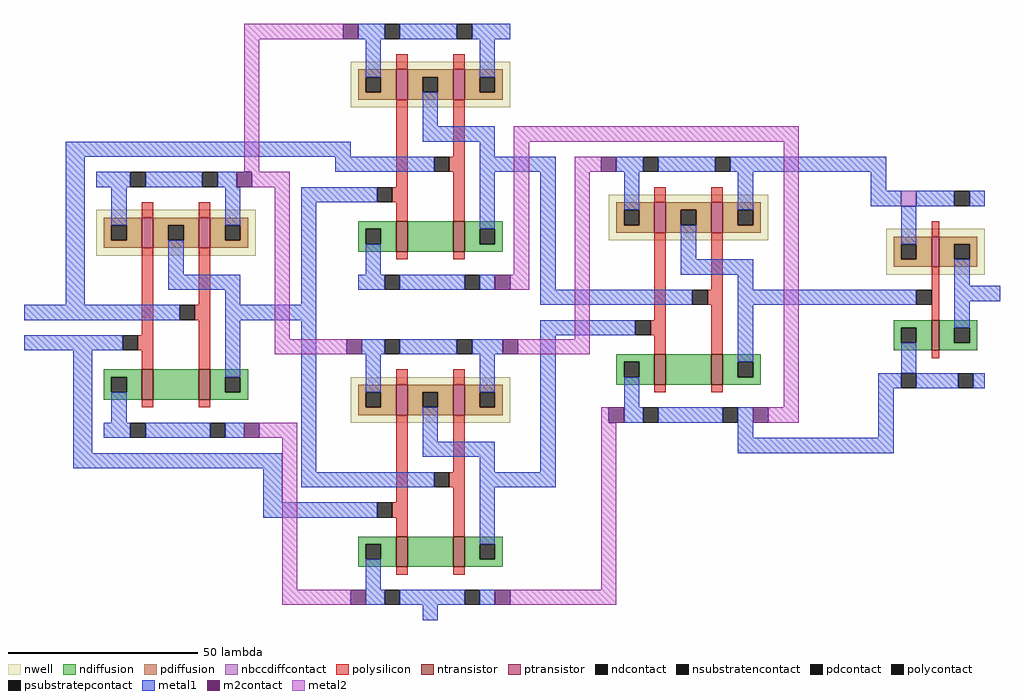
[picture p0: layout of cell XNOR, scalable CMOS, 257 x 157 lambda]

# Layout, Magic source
magic
tech scmos
<< nwell >>
rect -48 55 -6 67
rect -115 16 -73 28
rect 20 20 62 32
rect 93 11 119 23
rect -48 -28 -6 -16
<< polysilicon >>
rect -36 65 -33 69
rect -21 65 -18 69
rect -36 34 -33 57
rect -21 42 -18 57
rect -22 38 -18 42
rect -37 30 -33 34
rect -103 26 -100 30
rect -88 26 -85 30
rect -36 25 -33 30
rect -21 25 -18 38
rect 32 30 35 34
rect 47 30 50 34
rect -103 -5 -100 18
rect -88 3 -85 18
rect -36 15 -33 17
rect -21 15 -18 17
rect -89 -1 -85 3
rect 32 -1 35 22
rect 47 7 50 22
rect 105 21 107 25
rect 46 3 50 7
rect -104 -9 -100 -5
rect -103 -14 -100 -9
rect -88 -14 -85 -1
rect 31 -5 35 -1
rect 32 -10 35 -5
rect 47 -10 50 3
rect 105 -1 107 13
rect -36 -18 -33 -14
rect -21 -18 -18 -14
rect 105 -11 107 -9
rect -103 -24 -100 -22
rect -88 -24 -85 -22
rect 32 -20 35 -18
rect 47 -20 50 -18
rect -36 -49 -33 -26
rect -21 -41 -18 -26
rect -22 -45 -18 -41
rect -37 -53 -33 -49
rect -36 -58 -33 -53
rect -21 -58 -18 -45
rect -36 -68 -33 -66
rect -21 -68 -18 -66
<< ndiffusion >>
rect -46 23 -36 25
rect -46 19 -44 23
rect -40 19 -36 23
rect -46 17 -36 19
rect -33 17 -21 25
rect -18 23 -8 25
rect -18 19 -14 23
rect -10 19 -8 23
rect -18 17 -8 19
rect 95 -3 105 -1
rect 95 -7 97 -3
rect 101 -7 105 -3
rect 95 -9 105 -7
rect 107 -3 117 -1
rect 107 -7 111 -3
rect 115 -7 117 -3
rect 107 -9 117 -7
rect 22 -12 32 -10
rect -113 -16 -103 -14
rect -113 -20 -111 -16
rect -107 -20 -103 -16
rect -113 -22 -103 -20
rect -100 -22 -88 -14
rect -85 -16 -75 -14
rect -85 -20 -81 -16
rect -77 -20 -75 -16
rect 22 -16 24 -12
rect 28 -16 32 -12
rect 22 -18 32 -16
rect 35 -18 47 -10
rect 50 -12 60 -10
rect 50 -16 54 -12
rect 58 -16 60 -12
rect 50 -18 60 -16
rect -85 -22 -75 -20
rect -46 -60 -36 -58
rect -46 -64 -44 -60
rect -40 -64 -36 -60
rect -46 -66 -36 -64
rect -33 -66 -21 -58
rect -18 -60 -8 -58
rect -18 -64 -14 -60
rect -10 -64 -8 -60
rect -18 -66 -8 -64
<< pdiffusion >>
rect -46 63 -36 65
rect -46 59 -44 63
rect -40 59 -36 63
rect -46 57 -36 59
rect -33 63 -21 65
rect -33 59 -29 63
rect -25 59 -21 63
rect -33 57 -21 59
rect -18 63 -8 65
rect -18 59 -14 63
rect -10 59 -8 63
rect -18 57 -8 59
rect -113 24 -103 26
rect -113 20 -111 24
rect -107 20 -103 24
rect -113 18 -103 20
rect -100 24 -88 26
rect -100 20 -96 24
rect -92 20 -88 24
rect -100 18 -88 20
rect -85 24 -75 26
rect 22 28 32 30
rect -85 20 -81 24
rect -77 20 -75 24
rect -85 18 -75 20
rect 22 24 24 28
rect 28 24 32 28
rect 22 22 32 24
rect 35 28 47 30
rect 35 24 39 28
rect 43 24 47 28
rect 35 22 47 24
rect 50 28 60 30
rect 50 24 54 28
rect 58 24 60 28
rect 50 22 60 24
rect 95 19 105 21
rect 95 15 97 19
rect 101 15 105 19
rect 95 13 105 15
rect 107 19 117 21
rect 107 15 111 19
rect 115 15 117 19
rect 107 13 117 15
rect -46 -20 -36 -18
rect -46 -24 -44 -20
rect -40 -24 -36 -20
rect -46 -26 -36 -24
rect -33 -20 -21 -18
rect -33 -24 -29 -20
rect -25 -24 -21 -20
rect -33 -26 -21 -24
rect -18 -20 -8 -18
rect -18 -24 -14 -20
rect -10 -24 -8 -20
rect -18 -26 -8 -24
<< metal1 >>
rect -46 73 -39 77
rect -35 73 -20 77
rect -16 73 -6 77
rect -44 63 -40 73
rect -14 63 -10 73
rect -29 50 -25 59
rect -29 46 -10 50
rect -123 42 -48 46
rect -14 42 -10 46
rect -123 3 -118 42
rect -52 38 -26 42
rect -14 38 6 42
rect 22 38 29 42
rect 33 38 48 42
rect 52 38 93 42
rect -115 34 -106 38
rect -102 34 -87 38
rect -83 34 -78 38
rect -111 24 -107 34
rect -81 24 -77 34
rect -61 30 -41 34
rect -96 11 -92 20
rect -96 7 -77 11
rect -81 3 -77 7
rect -61 3 -57 30
rect -14 23 -10 38
rect -44 11 -40 19
rect -46 7 -39 11
rect -35 7 -18 11
rect -14 7 -10 11
rect 2 7 6 38
rect 24 28 28 38
rect 54 28 58 38
rect 89 33 93 38
rect 89 29 97 33
rect 101 29 111 33
rect 115 29 119 33
rect 39 15 43 24
rect 97 19 101 29
rect 39 11 58 15
rect 54 7 58 11
rect 111 8 115 15
rect 2 3 42 7
rect 54 3 101 7
rect 111 4 123 8
rect -134 -1 -93 3
rect -81 -1 -57 3
rect -134 -9 -108 -5
rect -121 -36 -116 -9
rect -81 -16 -77 -1
rect -111 -28 -107 -20
rect -113 -32 -106 -28
rect -102 -32 -85 -28
rect -81 -32 -76 -28
rect -121 -40 -66 -36
rect -71 -49 -66 -40
rect -61 -41 -57 -1
rect 2 -5 27 -1
rect -45 -10 -39 -6
rect -35 -10 -20 -6
rect -16 -10 -8 -6
rect -44 -20 -40 -10
rect -14 -20 -10 -10
rect -29 -33 -25 -24
rect -29 -37 -10 -33
rect -14 -41 -10 -37
rect 2 -41 6 -5
rect 54 -12 58 3
rect 111 -3 115 4
rect 97 -15 101 -7
rect 24 -24 28 -16
rect 91 -19 97 -15
rect 101 -19 112 -15
rect 116 -19 119 -15
rect 24 -28 29 -24
rect 33 -28 50 -24
rect 54 -32 58 -24
rect 91 -32 95 -19
rect 54 -36 95 -32
rect -61 -45 -26 -41
rect -14 -45 6 -41
rect -71 -53 -41 -49
rect -14 -60 -10 -45
rect -44 -72 -40 -64
rect -44 -76 -39 -72
rect -35 -76 -18 -72
rect -14 -76 -10 -72
rect -29 -80 -25 -76
<< metal2 >>
rect -76 73 -50 77
rect -76 38 -72 73
rect -5 46 70 50
rect -74 34 -64 38
rect -68 -6 -64 34
rect -5 11 -1 46
rect -6 7 -1 11
rect 11 38 18 42
rect 11 -6 15 38
rect -68 -10 -49 -6
rect -4 -10 15 -6
rect 66 -24 70 46
rect 18 -28 20 -24
rect 62 -28 70 -24
rect -72 -32 -62 -28
rect -66 -72 -62 -32
rect 18 -72 22 -28
rect -66 -76 -48 -72
rect -6 -76 22 -72
<< ntransistor >>
rect -36 17 -33 25
rect -21 17 -18 25
rect 105 -9 107 -1
rect -103 -22 -100 -14
rect -88 -22 -85 -14
rect 32 -18 35 -10
rect 47 -18 50 -10
rect -36 -66 -33 -58
rect -21 -66 -18 -58
<< ptransistor >>
rect -36 57 -33 65
rect -21 57 -18 65
rect -103 18 -100 26
rect -88 18 -85 26
rect 32 22 35 30
rect 47 22 50 30
rect 105 13 107 21
rect -36 -26 -33 -18
rect -21 -26 -18 -18
<< polycontact >>
rect -26 38 -22 42
rect -41 30 -37 34
rect -93 -1 -89 3
rect 42 3 46 7
rect 101 3 105 7
rect -108 -9 -104 -5
rect 27 -5 31 -1
rect -26 -45 -22 -41
rect -41 -53 -37 -49
<< ndcontact >>
rect -44 19 -40 23
rect -14 19 -10 23
rect 97 -7 101 -3
rect 111 -7 115 -3
rect -111 -20 -107 -16
rect -81 -20 -77 -16
rect 24 -16 28 -12
rect 54 -16 58 -12
rect -44 -64 -40 -60
rect -14 -64 -10 -60
<< pdcontact >>
rect -44 59 -40 63
rect -29 59 -25 63
rect -14 59 -10 63
rect -111 20 -107 24
rect -96 20 -92 24
rect -81 20 -77 24
rect 24 24 28 28
rect 39 24 43 28
rect 54 24 58 28
rect 97 15 101 19
rect 111 15 115 19
rect -44 -24 -40 -20
rect -29 -24 -25 -20
rect -14 -24 -10 -20
<< nbccdiffcontact >>
rect 97 29 101 33
<< m2contact >>
rect -50 73 -46 77
rect 18 38 22 42
rect -78 34 -74 38
rect -10 7 -6 11
rect -76 -32 -72 -28
rect -49 -10 -45 -6
rect -8 -10 -4 -6
rect 20 -28 24 -24
rect 58 -28 62 -24
rect -48 -76 -44 -72
rect -10 -76 -6 -72
<< psubstratepcontact >>
rect -39 7 -35 11
rect -18 7 -14 11
rect 97 -19 101 -15
rect 112 -19 116 -15
rect -106 -32 -102 -28
rect -85 -32 -81 -28
rect 29 -28 33 -24
rect 50 -28 54 -24
rect -39 -76 -35 -72
rect -18 -76 -14 -72
<< nsubstratencontact >>
rect -39 73 -35 77
rect -20 73 -16 77
rect -106 34 -102 38
rect -87 34 -83 38
rect 29 38 33 42
rect 48 38 52 42
rect 111 29 115 33
rect -39 -10 -35 -6
rect -20 -10 -16 -6
<< end >>
